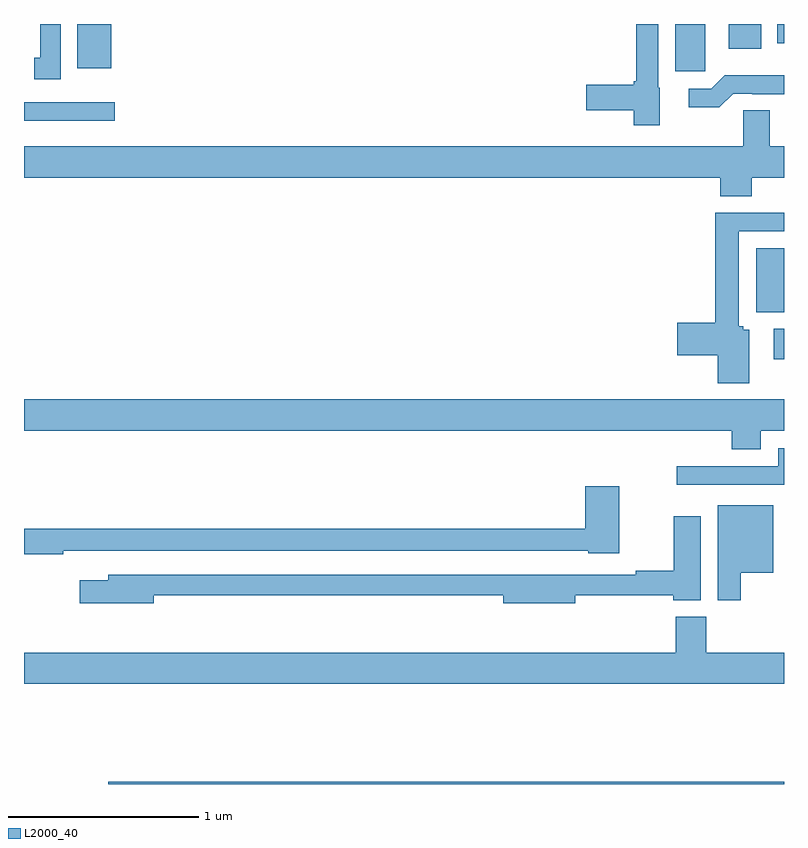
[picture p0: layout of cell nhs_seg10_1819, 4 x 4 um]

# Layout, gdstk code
import gdstk
lib = gdstk.Library(unit=1e-6, precision=1e-09)
def R(c, l, rs):  # rectangles x0, y0, x1, y1
    for r in rs: c.add(gdstk.rectangle(r[:2], r[2:], *l))
def P(c, l, *ps):  # polygons
    for p in ps: c.add(gdstk.Polygon(p, *l))
L2000_40 = (2000, 40)

nhs_seg10_1819 = lib.new_cell('nhs_seg10_1819')
R(nhs_seg10_1819, L2000_40, [(207.443,1254.5,211,1254.512), (210.945,1256.736,211,1256.895), (210.854,1256.984,211,1257.319), (207,1257.992,207.478,1258.089), (210.428,1258.251,210.586,1258.5), (207.281,1258.268,207.46,1258.5), (210.71,1258.371,210.879,1258.5), (210.964,1258.4,211,1258.5)])
P(nhs_seg10_1819, L2000_40, [(210.346,1258.164),(210.339,1258.164),(210.339,1258.5),(210.223,1258.5),(210.223,1258.199),(210.21,1258.199),(210.21,1258.181),(209.958,1258.181),(209.958,1258.046),(210.21,1258.046),(210.21,1257.968),(210.346,1257.968)],
  [(207.193,1258.5),(207.086,1258.5),(207.086,1258.322),(207.053,1258.322),(207.053,1258.209),(207.193,1258.209)],
  [(210.732,1258.134),(210.832,1258.134),(210.832,1258.131),(211,1258.131),(211,1258.229),(210.689,1258.229),(210.618,1258.158),(210.498,1258.158),(210.498,1258.061),(210.659,1258.061)],
  [(210.83,1257.692),(211,1257.692),(211,1257.856),(210.925,1257.856),(210.925,1258.046),(210.786,1258.046),(210.786,1257.856),(207,1257.856),(207,1257.692),(210.665,1257.692),(210.665,1257.593),(210.83,1257.593)],
  [(210.817,1256.892),(210.786,1256.892),(210.786,1256.91),(210.763,1256.91),(210.763,1257.408),(211,1257.408),(211,1257.506),(210.638,1257.506),(210.638,1256.927),(210.438,1256.927),(210.438,1256.756),(210.65,1256.756),(210.65,1256.61),(210.817,1256.61)],
  [(210.877,1256.36),(211,1256.36),(211,1256.524),(207,1256.524),(207,1256.36),(210.725,1256.36),(210.725,1256.261),(210.877,1256.261)],
  [(211,1256.268),(210.969,1256.268),(210.969,1256.172),(210.435,1256.172),(210.435,1256.076),(211,1256.076)],
  [(207.206,1255.728),(209.97,1255.728),(209.97,1255.715),(210.132,1255.715),(210.132,1256.068),(209.954,1256.068),(209.954,1255.844),(207,1255.844),(207,1255.708),(207.206,1255.708)],
  [(210.772,1255.613),(210.943,1255.613),(210.943,1255.966),(210.65,1255.966),(210.65,1255.467),(210.772,1255.467)],
  [(207.682,1255.494),(209.522,1255.494),(209.522,1255.451),(209.902,1255.451),(209.902,1255.494),(210.416,1255.494),(210.416,1255.466),(210.562,1255.466),(210.562,1255.909),(210.421,1255.909),(210.421,1255.622),(210.22,1255.622),(210.22,1255.602),(207.443,1255.602),(207.443,1255.573),(207.294,1255.573),(207.294,1255.451),(207.682,1255.451)],
  [(211,1255.192),(210.591,1255.192),(210.591,1255.381),(210.431,1255.381),(210.431,1255.192),(207,1255.192),(207,1255.028),(211,1255.028)])

lib.write_gds('nhs_seg10_1819.gds')
